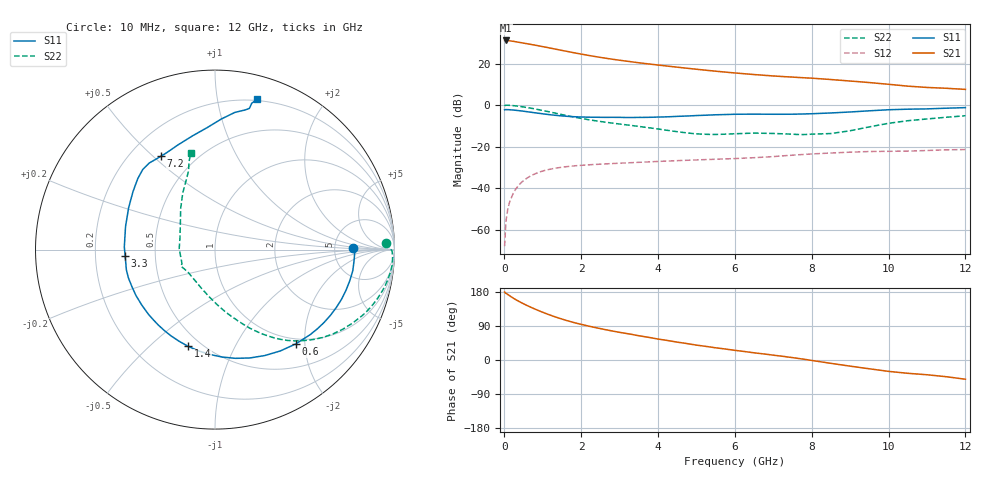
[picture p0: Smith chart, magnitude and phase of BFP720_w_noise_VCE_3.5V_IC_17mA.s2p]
! Infineon Technologies  Discrete & RF Semiconductors
! BFP720
! VCE =  3.5 V,  IC =  17 mA
! Common Emitter S-Parameters:  Aug 2012
# GHz  S  MA  R  50
!  f  S11  S21  S12  S22
! GHz  MAG  ANG  MAG  ANG  MAG  ANG  MAG  ANG
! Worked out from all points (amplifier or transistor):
!   105 points, 10 MHz to 12 GHz, reference 50 ohm
!   highest |S21| = 31.1 dB at 50 MHz (marker M1)
!   |S21| within 3 dB of that: start of sweep to 1.009 GHz
!   unconditionally stable (mu >= 1): 4.661 GHz to 10.85 GHz
!   at 300 MHz: K = 0.14, MSG = 35.5 dB, |S12| = -40.4 dB
!   at 3.6 GHz: K = 0.85, MSG = 23.8 dB, |S12| = -27.5 dB
!   at 12 GHz: K = 0.76, MSG = 14.5 dB, |S12| = -21.4 dB
!   lowest NFmin = 0.67 dB at 450 MHz
!   S11 on the Smith chart (normalised r, x): 10 MHz: 7.61, +0.40; 600 MHz: 0.90, -1.81; 1.4 GHz: 0.43, -0.67; 3.3 GHz: 0.33, -0.03; 7.2 GHz: 0.32, +0.53; 12 GHz: 0.19, +1.30
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0.01  0.7682 0.8  35.95 179.5  0.0004 -145.4  0.9542 2.3
0.02  0.7782 -1.5  35.92 177.5  0.0006 108.7  0.9859 -0.4
0.05  0.7774 -4.1  36 175.7  0.0017 78.7  0.9908 -2.1
0.15  0.7707 -13.0  35.24 168.9  0.0049 82.7  0.9848 -7.6
0.3  0.7488 -25.6  33.51 159.3  0.0095 76.6  0.9544 -15.0
0.45  0.7212 -37.7  31.7 151.0  0.0138 70.7  0.9154 -21.8
0.6  0.6915 -49.5  29.98 143.5  0.0176 65.5  0.8699 -28.0
0.8  0.652 -64.9  27.77 134.4  0.0221 59.1  0.8076 -35.6
1  0.6165 -79.3  25.58 126.0  0.0258 53.3  0.7418 -42.5
1.2  0.5844 -93.0  23.55 118.3  0.0286 48.4  0.6782 -48.6
1.4  0.5593 -105.5  21.64 111.4  0.0309 44.3  0.6187 -53.9
1.7  0.5317 -122.2  19.09 102.0  0.0335 39.4  0.5402 -60.6
2.1  0.5134 -139.4  16.28 91.8  0.0359 34.8  0.4606 -67.7
2.6  0.5068 -155.9  13.62 80.7  0.0382 31.0  0.3904 -75.2
3.3  0.5019 -175.9  11.05 67.9  0.041 27.8  0.3233 -84.8
4.1  0.517 163.2  9.001 53.8  0.0443 25.1  0.2578 -98.8
5  0.5597 144.7  7.294 39.3  0.0478 22.4  0.2031 -124.8
6.1  0.6017 131.1  5.835 24.3  0.052 20.4  0.2054 -150.5
7.2  0.6013 120.1  4.897 10.3  0.0593 19.1  0.204 -155.8
8.5  0.6458 101.2  4.124 -8.8  0.0701 11.8  0.2063 161.0
10.5  0.7961 77.8  2.857 -35.1  0.0779 -1.5  0.4201 112.4
12  0.8687 74.3  2.388 -50.7  0.0849 -10.6  0.5536 104.1
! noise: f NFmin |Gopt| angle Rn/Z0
0.45  0.67  0.19  1  0.39
1.8  0.74  0.2  11  0.14
2.4  0.79  0.19  17  0.43
5.5  1.01  0.11  -46  0.18
10  1.18  0.45  -73  0.29
